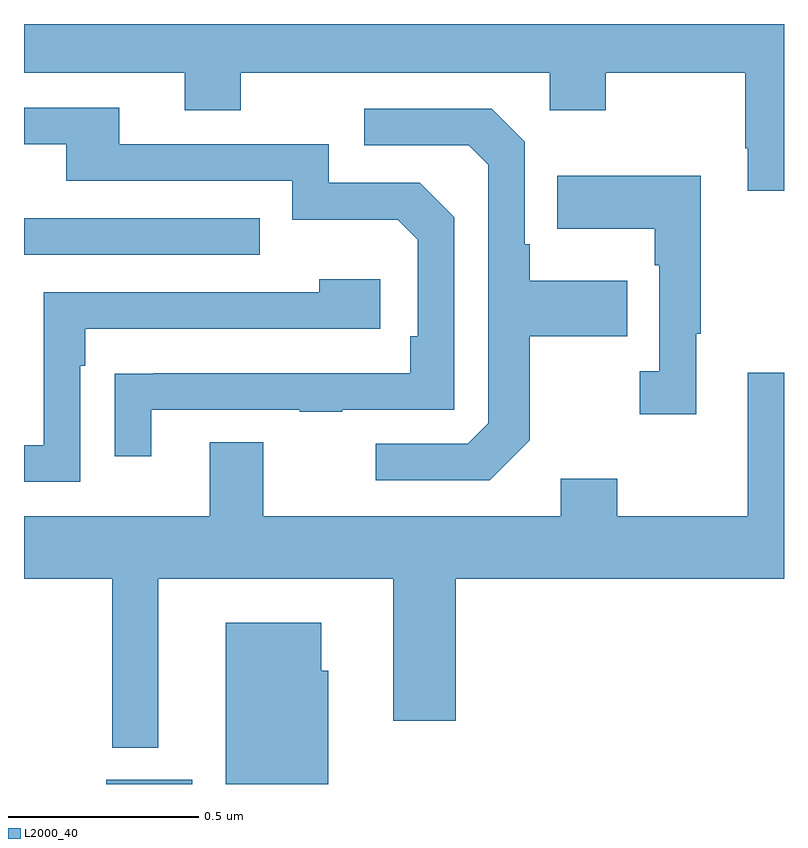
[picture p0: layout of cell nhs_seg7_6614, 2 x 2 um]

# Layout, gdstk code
import gdstk
lib = gdstk.Library(unit=1e-6, precision=1e-09)
def R(c, l, rs):  # rectangles x0, y0, x1, y1
    for r in rs: c.add(gdstk.rectangle(r[:2], r[2:], *l))
def P(c, l, *ps):  # polygons
    for p in ps: c.add(gdstk.Polygon(p, *l))
L2000_40 = (2000, 40)

nhs_seg7_6614 = lib.new_cell('nhs_seg7_6614')
R(nhs_seg7_6614, L2000_40, [(200.216,1076,200.443,1076.011), (200,1077.393,200.621,1077.489)])
P(nhs_seg7_6614, L2000_40, [(202,1078),(200,1078),(200,1077.872),(200.423,1077.872),(200.423,1077.773),(200.571,1077.773),(200.571,1077.872),(201.384,1077.872),(201.384,1077.773),(201.531,1077.773),(201.531,1077.872),(201.898,1077.872),(201.898,1077.673),(201.905,1077.673),(201.905,1077.561),(202,1077.561)],
  [(200.335,1076.985),(200.725,1076.985),(200.725,1076.98),(200.837,1076.98),(200.837,1076.985),(201.132,1076.985),(201.132,1077.492),(201.042,1077.582),(200.802,1077.582),(200.802,1077.684),(200.251,1077.684),(200.251,1077.78),(200,1077.78),(200,1077.684),(200.111,1077.684),(200.111,1077.588),(200.706,1077.588),(200.706,1077.485),(200.983,1077.485),(201.036,1077.432),(201.036,1077.178),(201.016,1077.178),(201.016,1077.081),(200.341,1077.081),(200.341,1077.08),(200.239,1077.08),(200.239,1076.862),(200.335,1076.862)],
  [(201.331,1076.905),(201.331,1077.178),(201.587,1077.178),(201.587,1077.325),(201.331,1077.325),(201.331,1077.421),(201.318,1077.421),(201.318,1077.69),(201.231,1077.777),(200.895,1077.777),(200.895,1077.681),(201.171,1077.681),(201.222,1077.63),(201.222,1076.949),(201.168,1076.895),(200.925,1076.895),(200.925,1076.799),(201.225,1076.799)],
  [(201.769,1077.185),(201.781,1077.185),(201.781,1077.601),(201.403,1077.601),(201.403,1077.461),(201.66,1077.461),(201.66,1077.365),(201.672,1077.365),(201.672,1077.086),(201.621,1077.086),(201.621,1076.973),(201.769,1076.973)],
  [(200.148,1077.101),(200.161,1077.101),(200.161,1077.198),(200.938,1077.198),(200.938,1077.328),(200.777,1077.328),(200.777,1077.294),(200.052,1077.294),(200.052,1076.892),(200,1076.892),(200,1076.796),(200.148,1076.796)],
  [(200.353,1076.54),(200.972,1076.54),(200.972,1076.166),(201.136,1076.166),(201.136,1076.54),(202,1076.54),(202,1077.082),(201.905,1077.082),(201.905,1076.704),(201.561,1076.704),(201.561,1076.803),(201.413,1076.803),(201.413,1076.704),(200.629,1076.704),(200.629,1076.899),(200.489,1076.899),(200.489,1076.704),(200,1076.704),(200,1076.54),(200.232,1076.54),(200.232,1076.096),(200.353,1076.096)],
  [(200.8,1076.298),(200.782,1076.298),(200.782,1076.425),(200.531,1076.425),(200.531,1076),(200.8,1076)])

lib.write_gds('nhs_seg7_6614.gds')
